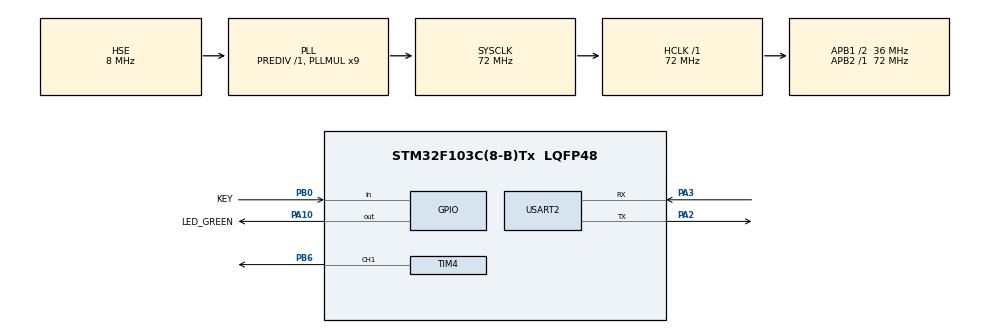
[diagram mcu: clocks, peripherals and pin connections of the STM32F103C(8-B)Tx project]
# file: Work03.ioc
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Dma.Request0=USART2_TX
Dma.Request1=USART2_RX
Dma.USART2_RX.1.Direction=DMA_PERIPH_TO_MEMORY
Dma.USART2_RX.1.Instance=DMA1_Channel6
Dma.USART2_RX.1.MemDataAlignment=DMA_MDATAALIGN_BYTE
Dma.USART2_RX.1.MemInc=DMA_MINC_ENABLE
Dma.USART2_RX.1.Mode=DMA_NORMAL
Dma.USART2_RX.1.PeriphDataAlignment=DMA_PDATAALIGN_BYTE
Dma.USART2_RX.1.PeriphInc=DMA_PINC_DISABLE
Dma.USART2_RX.1.Priority=DMA_PRIORITY_LOW
Dma.USART2_TX.0.Direction=DMA_MEMORY_TO_PERIPH
Dma.USART2_TX.0.Instance=DMA1_Channel7
Dma.USART2_TX.0.MemDataAlignment=DMA_MDATAALIGN_BYTE
Dma.USART2_TX.0.MemInc=DMA_MINC_ENABLE
Dma.USART2_TX.0.Mode=DMA_NORMAL
Dma.USART2_TX.0.PeriphDataAlignment=DMA_PDATAALIGN_BYTE
Dma.USART2_TX.0.PeriphInc=DMA_PINC_DISABLE
Dma.USART2_TX.0.Priority=DMA_PRIORITY_LOW
Mcu.Family=STM32F1
Mcu.Name=STM32F103C(8-B)Tx
Mcu.Package=LQFP48
NVIC.DMA1_Channel6_IRQn=true\:0\:0\:false\:false\:true\:false\:true\:true
NVIC.DMA1_Channel7_IRQn=true\:0\:0\:false\:false\:true\:false\:true\:true
NVIC.PriorityGroup=NVIC_PRIORITYGROUP_4
NVIC.TIM2_IRQn=true\:0\:0\:false\:false\:true\:true\:true\:true
NVIC.USART2_IRQn=true\:0\:0\:false\:false\:true\:true\:true\:true
PA10.GPIO_Label=LED_GREEN
PA10.GPIO_PuPd=GPIO_PULLDOWN
PA10.Signal=GPIO_Output
PA13.Mode=Serial_Wire
PA13.Signal=SYS_JTMS-SWDIO
PA14.Mode=Serial_Wire
PA14.Signal=SYS_JTCK-SWCLK
PA2.Mode=Asynchronous
PA2.Signal=USART2_TX
PA3.Mode=Asynchronous
PA3.Signal=USART2_RX
PB0.GPIO_Label=KEY
PB0.GPIO_PuPd=GPIO_PULLUP
PB0.Signal=GPIO_Input
PB6.Signal=S_TIM4_CH1
PD0-OSC_IN.Mode=HSE-External-Oscillator
PD0-OSC_IN.Signal=RCC_OSC_IN
PD1-OSC_OUT.Mode=HSE-External-Oscillator
PD1-OSC_OUT.Signal=RCC_OSC_OUT
ProjectManager.HeapSize=0x200
ProjectManager.StackSize=0x400
ProjectManager.TargetToolchain=MDK-ARM V5.32
RCC.AHBFreq_Value=72000000
RCC.APB1CLKDivider=RCC_HCLK_DIV2
RCC.APB1Freq_Value=36000000
RCC.APB1TimFreq_Value=72000000
RCC.APB2Freq_Value=72000000
RCC.APB2TimFreq_Value=72000000
RCC.HCLKFreq_Value=72000000
RCC.PLLMUL=RCC_PLL_MUL9
RCC.PLLSourceVirtual=RCC_PLLSOURCE_HSE
RCC.SYSCLKFreq_VALUE=72000000
RCC.SYSCLKSource=RCC_SYSCLKSOURCE_PLLCLK
RCC.USBFreq_Value=72000000
SH.S_TIM4_CH1.0=TIM4_CH1,PWM Generation1 CH1
TIM2.AutoReloadPreload=TIM_AUTORELOAD_PRELOAD_ENABLE
TIM2.Period=1000-1
TIM2.Prescaler=72-1
TIM4.AutoReloadPreload=TIM_AUTORELOAD_PRELOAD_ENABLE
TIM4.Channel-PWM\ Generation1\ CH1=TIM_CHANNEL_1
TIM4.Period=100-1
TIM4.Prescaler=72-1
USART2.VirtualMode=VM_ASYNC
VP_TIM2_VS_ClockSourceINT.Mode=Internal
VP_TIM4_VS_ClockSourceINT.Mode=Internal
board=custom

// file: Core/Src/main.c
/* USER CODE BEGIN Header */
/**
  ******************************************************************************
  * @file           : main.c
  * @brief          : Main program body
  ******************************************************************************
  * @attention
  *
  * Copyright (c) 2025 STMicroelectronics.
  * All rights reserved.
  *
  * This software is licensed under terms that can be found in the LICENSE file
  * in the root directory of this software component.
  * If no LICENSE file comes with this software, it is provided AS-IS.
  *
  ******************************************************************************
  */
/* USER CODE END Header */
#include "main.h"
#include "dma.h"
#include "tim.h"
#include "usart.h"
#include "gpio.h"

/* USER CODE BEGIN Includes */
#include <string.h>
#include <stdio.h>
#include <stdbool.h>
#include "key.h"
#include "led_light.h"
#include "led_pwm.h"
/* USER CODE END Includes */

/* USER CODE BEGIN PV */
_Bool SysState;
uint8_t mess1[5] = {0xFA,0xAF,0x00,0xFB,0xBF};
uint8_t keyword[6] = {0xFA,0xAF,0x03,0x00,0xFB,0xBF};
uint8_t Txdata[6] = {0xFC,0xCF,0x03,0x01,0xFD,0xDF};
uint8_t Rxdata[6];
_Bool uartflag;
_Bool twlflag;
uint8_t n;
/* USER CODE END PV */

void SystemClock_Config(void);

/* USER CODE BEGIN 0 */
void HAL_TIM_PeriodElapsedCallback(TIM_HandleTypeDef* htim)
{
	if(htim == &htim2)
	{
		KeyTick();
		led_light_tick();
		led_pwm_tick();
	}
}

void HAL_UART_RxCpltCallback(UART_HandleTypeDef *huart)
{
	uartflag = 1;
	twlflag = 1;
	n = 0;
}
/* USER CODE END 0 */

int main(void)
{

  /* MCU Configuration--------------------------------------------------------*/

  /* Reset of all peripherals, Initializes the Flash interface and the Systick. */
  HAL_Init();

  /* Configure the system clock */
  SystemClock_Config();

  /* Initialize all configured peripherals */
  MX_GPIO_Init();
  MX_DMA_Init();
  MX_USART2_UART_Init();
  MX_TIM2_Init();
  MX_TIM4_Init();
  /* USER CODE BEGIN 2 */
  HAL_TIM_Base_Start_IT(&htim2);
  HAL_TIM_PWM_Start(&htim4,TIM_CHANNEL_1);
  uint8_t a;
  /* USER CODE END 2 */

  /* Infinite loop */
  /* USER CODE BEGIN WHILE */
  while (1)
  {
	  a = keyscan();
	  if(a == 2)
	  {
		  SysState = !SysState;
		  uartflag = 1;
		  twlflag = 1;
	  }
	  if(SysState)
	  {
		   pwm();
		  //led light by pwm
	      if(a == 1)
		  {
			if(mess1[2] == 0x01)
			{
				mess1[2] = 0x00;
				HAL_UART_Transmit_DMA(&huart2,mess1,5);
			}
			else if(mess1[2] == 0x00)
			{
				mess1[2] = 0x01;
				HAL_UART_Transmit_DMA(&huart2,mess1,5);
			}
			//key control uart
	      }

			if(uartflag == 1)
			{
				uartflag = 0;
				HAL_UART_Receive_DMA(&huart2,Rxdata,6);
			}
			if(Rxdata[0] == keyword[0] && Rxdata[1] == keyword[1] && Rxdata[5] == keyword[5] && Rxdata[4] == keyword[4])
			{
				if(Rxdata[2] == 0x00)
					HAL_GPIO_WritePin(LED_GREEN_GPIO_Port,LED_GREEN_Pin,GPIO_PIN_RESET);
				else if(Rxdata[2] == 0x01)
				{
					troggle_led(Rxdata[3]);

				}
				if(n > 2*Rxdata[3] && twlflag == 1)
				{
					twlflag = 0;
				HAL_UART_Transmit_DMA(&huart2,Txdata,6);
				}
			}

	  }
	  if(!SysState)
	  {
		__HAL_TIM_SET_COMPARE(&htim4,TIM_CHANNEL_1,0);
		HAL_GPIO_WritePin(LED_GREEN_GPIO_Port,LED_GREEN_Pin,GPIO_PIN_RESET);
	  }

    /* USER CODE END WHILE */

  }
}

void SystemClock_Config(void)
{
  RCC_OscInitTypeDef RCC_OscInitStruct = {0};
  RCC_ClkInitTypeDef RCC_ClkInitStruct = {0};

  /** Initializes the RCC Oscillators according to the specified parameters
  * in the RCC_OscInitTypeDef structure.
  */
  RCC_OscInitStruct.OscillatorType = RCC_OSCILLATORTYPE_HSE;
  RCC_OscInitStruct.HSEState = RCC_HSE_ON;
  RCC_OscInitStruct.HSEPredivValue = RCC_HSE_PREDIV_DIV1;
  RCC_OscInitStruct.HSIState = RCC_HSI_ON;
  RCC_OscInitStruct.PLL.PLLState = RCC_PLL_ON;
  RCC_OscInitStruct.PLL.PLLSource = RCC_PLLSOURCE_HSE;
  RCC_OscInitStruct.PLL.PLLMUL = RCC_PLL_MUL9;
  if (HAL_RCC_OscConfig(&RCC_OscInitStruct) != HAL_OK)
  {
    Error_Handler();
  }

  /** Initializes the CPU, AHB and APB buses clocks
  */
  RCC_ClkInitStruct.ClockType = RCC_CLOCKTYPE_HCLK|RCC_CLOCKTYPE_SYSCLK
                              |RCC_CLOCKTYPE_PCLK1|RCC_CLOCKTYPE_PCLK2;
  RCC_ClkInitStruct.SYSCLKSource = RCC_SYSCLKSOURCE_PLLCLK;
  RCC_ClkInitStruct.AHBCLKDivider = RCC_SYSCLK_DIV1;
  RCC_ClkInitStruct.APB1CLKDivider = RCC_HCLK_DIV2;
  RCC_ClkInitStruct.APB2CLKDivider = RCC_HCLK_DIV1;

  if (HAL_RCC_ClockConfig(&RCC_ClkInitStruct, FLASH_LATENCY_2) != HAL_OK)
  {
    Error_Handler();
  }
}

void Error_Handler(void)
{
  __disable_irq();
  while (1)
  {
  }
}
